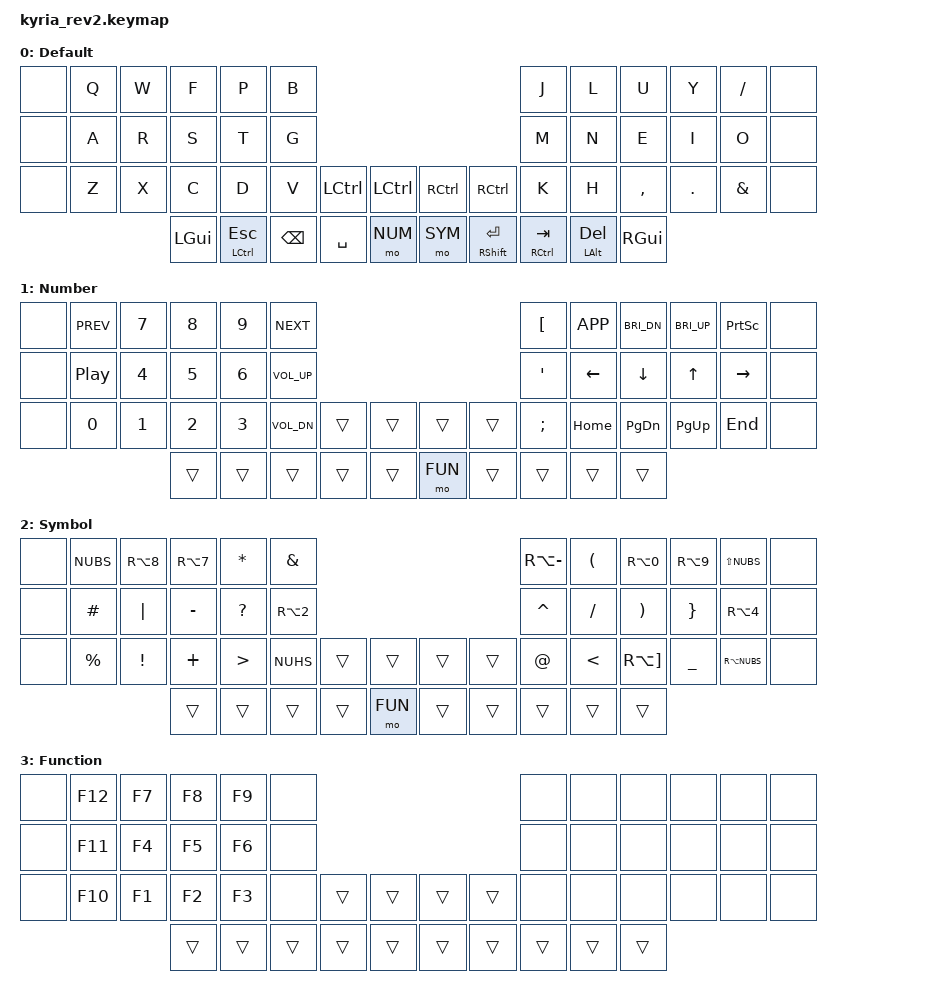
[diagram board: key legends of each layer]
/*
 * Copyright (c) 2020 The ZMK Contributors
 *
 * SPDX-License-Identifier: MIT
 */

#include <behaviors.dtsi>
#include <dt-bindings/zmk/modifiers.h>
#include <dt-bindings/zmk/keys.h>

// Indentifiers for layers
#define DEF 0
#define NUM 1
#define SYM 2
#define FUN 3

// Swedish layout vowels
#define SE_ARNG LBKT // Å
#define SE_ADIA APOS // Ä
#define SE_ODIA SEMI // Ö

// Swedish layout symbols
#define SE_PLUS  MINUS     // +
#define SE_MINUS FSLH      // -
#define SE_APOS  NUHS      // '
#define SE_DQT   AT        // "
#define SE_CURR  DLLR      // ¤
#define SE_AMPS  CARET     // &
#define SE_FSLH  AMPS      // /
#define SE_LPAR  STAR      // (
#define SE_RPAR  LPAR      // )
#define SE_EQUAL RPAR      // =
#define SE_QMARK UNDER     // ?
#define SE_DIAE  RBKT      // ¨ (dead)
#define SE_ACUTE EQUAL     // ´ (dead)
#define SE_GRAVE PLUS      // ` (dead)
#define SE_CARET RBRC      // ^ (dead)
#define SE_STAR  PIPE      // *
#define SE_LT    NUBS      // <
#define SE_GT    LS(NUBS)  // >
#define SE_SEMI  LT        // ;
#define SE_COLON GT        // :
#define SE_UNDER QMARK     // _
#define SE_AT    RA(N2)    // @
#define SE_PND   RA(N3)    // £
#define SE_DLLR  RA(N4)    // $
#define SE_EURO  RA(N5)    // €
#define SE_LBRC  RA(N7)    // {
#define SE_LBKT  RA(N8)    // [
#define SE_RBKT  RA(N9)    // ]
#define SE_RBRC  RA(N0)    // }
#define SE_TILDE RA(RBKT)  // ~ (dead)
#define SE_BSLH  RA(MINUS) // \ (bslh)
#define SE_PIPE  RA(NUBS)  // |

/ {
    keymap {
        compatible = "zmk,keymap";

        default_layer {
            label = "Default";

            bindings = <
    &none &kp Q &kp W &kp F    &kp P         &kp B                                                    &kp J         &kp L        &kp U     &kp Y   &kp SE_MINUS &none
    &none &kp A &kp R &kp S    &kp T         &kp G                                                    &kp M         &kp N        &kp E     &kp I   &kp O        &none
    &none &kp Z &kp X &kp C    &kp D         &kp V    &kp LCTRL &kp LCTRL    &kp RCTRL &kp RCTRL      &kp K         &kp H        &kp COMMA &kp DOT &kp SE_FSLH  &none
                      &kp LGUI &mt LCTRL ESC &kp BSPC &kp SPACE &mo NUM      &mo SYM   &mt RSHIFT RET &mt RCTRL TAB &mt LALT DEL &kp RGUI
            >;
        };

        number_layer {
            label = "Number";

            bindings = <
    &none &kp C_PREV &kp N7 &kp N8 &kp N9 &kp C_NEXT                                   &kp SE_ARNG &kp K_APP &kp C_BRI_DN &kp C_BRI_UP &kp PSCRN &none
    &none &kp C_PP   &kp N4 &kp N5 &kp N6 &kp C_VOL_UP                                 &kp SE_ADIA &kp LEFT  &kp DOWN     &kp UP       &kp RIGHT &none
    &none &kp N0     &kp N1 &kp N2 &kp N3 &kp C_VOL_DN &trans &trans    &trans  &trans &kp SE_ODIA &kp HOME  &kp PG_DN    &kp PG_UP    &kp END   &none
                            &trans &trans &trans       &trans &trans    &mo FUN &trans &trans      &trans    &trans
            >;
        };

        symbol_layer {
            label = "Symbol";

            bindings = <
    &none &kp SE_LT &kp SE_LBKT &kp SE_LBRC  &kp SE_LPAR  &kp SE_FSLH                                 &kp SE_BSLH &kp SE_RPAR  &kp SE_RBRC  &kp SE_RBKT  &kp SE_GT   &none
    &none &kp HASH  &kp SE_STAR &kp SE_PLUS  &kp SE_UNDER &kp SE_AT                                   &kp SE_AMPS &kp SE_MINUS &kp SE_EQUAL &kp SE_CARET &kp SE_DLLR &none
    &none &kp PRCNT &kp EXCL    &kp SE_GRAVE &kp SE_COLON &kp SE_APOS &trans &trans     &trans &trans &kp SE_DQT  &kp SE_SEMI  &kp SE_TILDE &kp SE_QMARK &kp SE_PIPE &none
                                &trans       &trans       &trans      &trans &mo FUN    &trans &trans &trans      &trans       &trans
            >;
        };

        function_layer {
            label = "Function";

            bindings = <
    &none &kp F12 &kp F7 &kp F8 &kp F9 &none                                 &none  &none  &none  &none &none &none
    &none &kp F11 &kp F4 &kp F5 &kp F6 &none                                 &none  &none  &none  &none &none &none
    &none &kp F10 &kp F1 &kp F2 &kp F3 &none  &trans &trans    &trans &trans &none  &none  &none  &none &none &none
                         &trans &trans &trans &trans &trans    &trans &trans &trans &trans &trans
            >;
        };
    };
};
